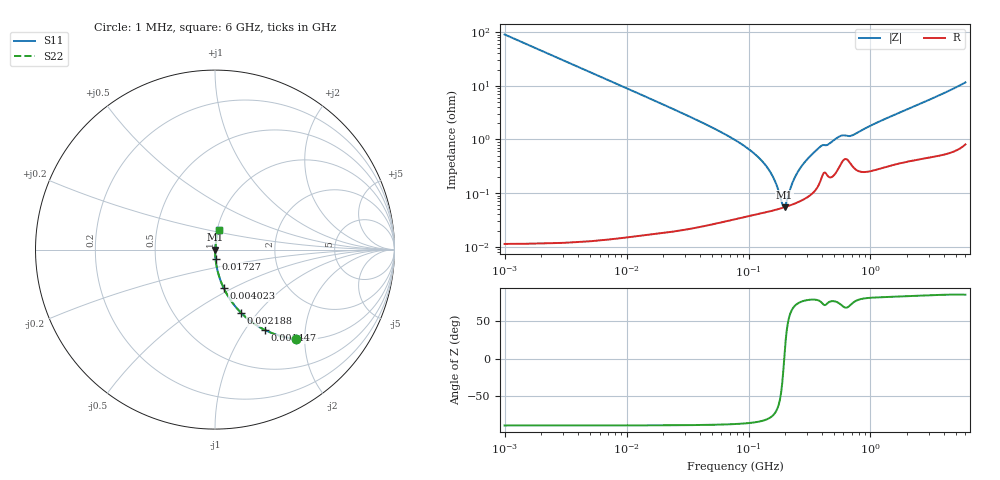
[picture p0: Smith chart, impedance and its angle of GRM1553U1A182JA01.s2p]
!Murata Part Number: GRM1553U1A182JA01
!These Parameters are Measured in Series Mode Connection
!Data Generated on Mar 30, 2021
!  o--ll--o
!Port1  Port2
!  o------o
!Operation Temp=25[degC], DC Bias Voltage=0[V]
!Freq. Start=1000[kHz] Stop=6[GHz] 401[Steps]
# Hz S RI R 50
!Freq.(Hz) S11(Real) S11(Imag) S21(Real) S21(Imag) S12(Real) S12(Imag) S22(Real) S22(Imag)
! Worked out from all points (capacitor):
!   401 points, 1 MHz to 6 GHz, reference 50 ohm
!   read as one part in series: C = 1.76 nF near 1.044 MHz
!   lowest |Z| = 54.7 mohm at 197.3 MHz (marker M1)
!   series resonance near 196.2 MHz, so ESL is about 370 pH
!   S11 on the Smith chart (normalised r, x): 1 MHz: 1.00, -1.81; 1.447 MHz: 1.00, -1.25; 2.188 MHz: 1.00, -0.83; 4.023 MHz: 1.00, -0.45; 17.27 MHz: 1.00, -0.10; 6 GHz: 1.02, +0.23
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1000000  0.4493 -0.4974  0.5507 0.4974  0.5507 0.4974  0.4493 -0.4974
1447343  0.2803 -0.449  0.7197 0.449  0.7197 0.449  0.2803 -0.449
2187931  0.1456 -0.3526  0.8544 0.3526  0.8544 0.3526  0.1456 -0.3526
4022575  0.048 -0.2136  0.952 0.2136  0.952 0.2136  0.048 -0.2136
4293785  0.0424 -0.2013  0.9576 0.2013  0.9576 0.2013  0.0424 -0.2013
1.727208e7  0.00285 -0.0517  0.9972 0.0517  0.9972 0.0517  0.00285 -0.0517
1.843659e7  0.00252 -0.0484  0.9975 0.0484  0.9975 0.0484  0.00252 -0.0484
7.745967e7  0.000419 -0.00975  0.9996 0.00975  0.9996 0.00975  0.000419 -0.00975
1.096987e8  0.000418 -0.0056  0.9996 0.0056  0.9996 0.0056  0.000418 -0.0056
1.39348e8  0.000448 -0.00318  0.9996 0.00318  0.9996 0.00318  0.000448 -0.00318
1.587717e8  0.000476 -0.00194  0.9995 0.00194  0.9995 0.00194  0.000476 -0.00194
1.889453e8  0.000527 -0.000342  0.9995 0.000342  0.9995 0.000342  0.000527 -0.000342
1.973453e8  0.000544 5.54e-05  0.9995 -5.54e-05  0.9995 -5.54e-05  0.000544 5.54e-05
2.061188e8  0.000562 0.000453  0.9994 -0.000453  0.9994 -0.000453  0.000562 0.000453
2.297971e8  0.000616 0.00146  0.9994 -0.00146  0.9994 -0.00146  0.000616 0.00146
2.506837e8  0.00067 0.00228  0.9993 -0.00228  0.9993 -0.00228  0.00067 0.00228
3.325952e8  0.001 0.00521  0.999 -0.00521  0.999 -0.00521  0.001 0.00521
3.872876e8  0.00169 0.00711  0.9983 -0.00711  0.9983 -0.00711  0.00169 0.00711
5.60538e8  0.00331 0.0109  0.9967 -0.0109  0.9967 -0.0109  0.00331 0.0109
7.120397e8  0.00328 0.0114  0.9967 -0.0114  0.9967 -0.0114  0.00328 0.0114
1.428092e9  0.00384 0.0258  0.9962 -0.0258  0.9962 -0.0258  0.00384 0.0258
6e9  0.0208 0.1119  0.9792 -0.1119  0.9792 -0.1119  0.0208 0.1119
